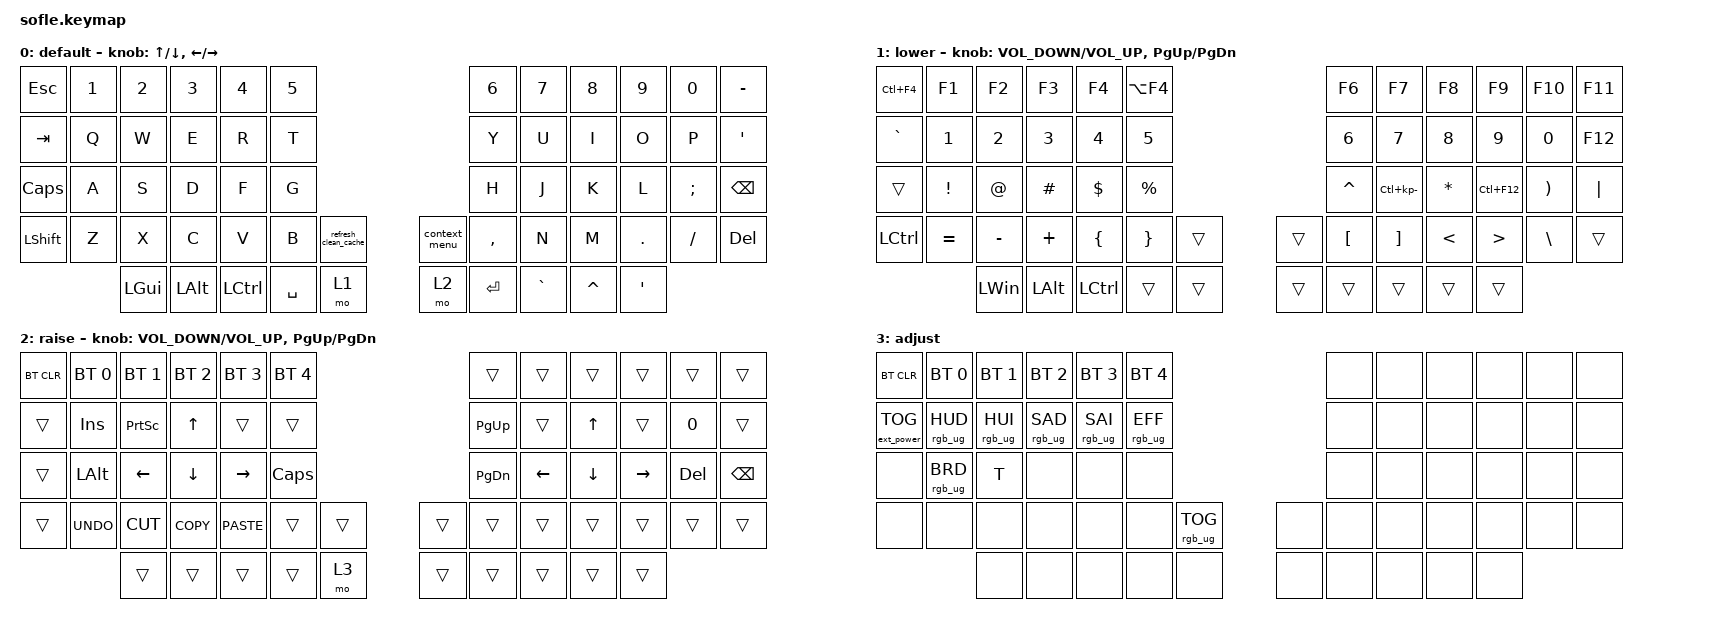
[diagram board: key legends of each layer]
/*
 * Copyright (c) 2020 The ZMK Contributors
 *
 * SPDX-License-Identifier: MIT
 */

#include <behaviors.dtsi>
#include <dt-bindings/zmk/bt.h>
#include <dt-bindings/zmk/ext_power.h>
#include <dt-bindings/zmk/keys.h>
#include <dt-bindings/zmk/rgb.h>

#define BASE 0
#define LOWER 1
#define RAISE 2
#define ADJUST 3

/ {
    // Activate ADJUST layer by pressing raise and lower

    conditional_layers {
        compatible = "zmk,conditional-layers";

        adjust_layer {
            if-layers = <LOWER RAISE>;
            then-layer = <ADJUST>;
        };
    };

    behaviors {
        knop_up_and_down: knop_up_and_down {
            compatible = "zmk,behavior-sensor-rotate";
            label = "KNOP_UP_AND_DOWN";
            #sensor-binding-cells = <0>;
            bindings = <&kp DOWN_ARROW>, <&kp UP_ARROW>;
        };
    };

    combos {
        compatible = "zmk,combos";

        dotnet_watch_debug {
            bindings = <&dotnet_watch_debug>;
            key-positions = <27 14>;
        };

        dotnet_build {
            bindings = <&dotnet_build>;
            key-positions = <27 41>;
        };

        dotnet_clean {
            bindings = <&dotnet_clean>;
            key-positions = <27 39>;
        };

        console_log {
            bindings = <&console_log>;
            key-positions = <39 33>;
        };

        context_menu {
            bindings = <&context_menu>;
            key-positions = <43>;
        };

        refresh {
            bindings = <&refresh_clean_cache>;
            key-positions = <42>;
        };

        git_add {
            bindings = <&git_add>;
            key-positions = <29 25>;
        };

        git_commit {
            bindings = <&git_commit>;
            key-positions = <29 46>;
        };

        git_clone {
            bindings = <&git_clone>;
            key-positions = <29 39 33>;
        };

        git_push {
            bindings = <&git_push>;
            key-positions = <29 22>;
        };

        npm_install {
            bindings = <&npm_install>;
            key-positions = <45 20>;
        };

        npm_run_dev {
            bindings = <&npm_run_dev>;
            key-positions = <45 16 27>;
        };

        npm_start {
            bindings = <&npm_start>;
            key-positions = <45 26>;
        };

        code_close_blocks {
            bindings = <&kp LC(LS(LEFT_BRACKET))>;
            key-positions = <52 20>;
        };

        code_expand_blocks {
            bindings = <&kp LC(LS(RIGHT_BRACKET))>;
            key-positions = <52 32>;
        };
    };

    macros {
        refresh_clean_cache: new_macro {
            compatible = "zmk,behavior-macro";
            #binding-cells = <0>;
            bindings = <&kp LCTRL &kp LEFT_SHIFT &kp F5>;
            label = "NEW_MACRO";
        };

        context_menu: context_menu {
            compatible = "zmk,behavior-macro";
            #binding-cells = <0>;
            bindings = <&kp LS(F10)>;
            label = "CONTEXT_MENU";
            tap-ms = <0>;
            wait-ms = <0>;
        };

        dotnet_watch_debug: dotnet_watch_debug {
            compatible = "zmk,behavior-macro";
            #binding-cells = <0>;
            bindings = <&kp D &kp O &kp T &kp N &kp E &kp T &kp SPACE &kp W &kp A &kp T &kp C &kp H &kp SPACE &kp D &kp E &kp B &kp U &kp G &kp ENTER>;
            label = "DOTNET_WATCH_DEBUG";
            wait-ms = <30>;
        };

        dotnet_build: dotnet_build {
            compatible = "zmk,behavior-macro";
            #binding-cells = <0>;
            bindings = <&kp D &kp O &kp T &kp N &kp E &kp T &kp SPACE &kp B &kp U &kp I &kp L &kp D &kp ENTER>;
            label = "DOTNET_BUILD";
        };

        dotnet_clean: dotnet_clean {
            compatible = "zmk,behavior-macro";
            #binding-cells = <0>;
            bindings = <&kp D &kp O &kp T &kp N &kp E &kp T &kp SPACE &kp C &kp L &kp E &kp A &kp N &kp RET>;
            label = "DOTNET_CLEAN";
        };

        console_log: console_log {
            compatible = "zmk,behavior-macro";
            #binding-cells = <0>;
            bindings = <&kp C &kp O &kp N &kp S &kp O &kp L &kp E &kp DOT &kp L &kp O &kp G &kp LPAR &kp RPAR &kp LEFT_ARROW>;
            label = "CONSOLE_LOG";
        };

        git_pull: git_pull {
            compatible = "zmk,behavior-macro";
            #binding-cells = <0>;
            bindings = <&kp G &kp I &kp T &kp SPACE &kp P &kp U &kp L &kp L &kp ENTER>;
            label = "GIT_PULL";
        };

        git_add: git_add {
            compatible = "zmk,behavior-macro";
            #binding-cells = <0>;
            bindings = <&kp G &kp I &kp T &kp SPACE &kp A &kp D &kp D &kp SPACE &kp DOT &kp RET>;
            label = "GIT_ADD";
        };

        git_commit: git_commit {
            compatible = "zmk,behavior-macro";
            #binding-cells = <0>;
            bindings = <&kp G &kp I &kp T &kp SPACE &kp C &kp O &kp M &kp M &kp I &kp T &kp SPACE &kp MINUS &kp M &kp SPACE &kp DQT &kp DQT &kp LEFT>;
            label = "GIT_COMMIT";
        };

        git_push: git_push {
            compatible = "zmk,behavior-macro";
            #binding-cells = <0>;
            bindings = <&kp G &kp I &kp T &kp SPACE &kp P &kp U &kp S &kp H &kp SPACE &kp RET>;
            label = "GIT_PUSH";
        };

        git_clone: git_clone {
            compatible = "zmk,behavior-macro";
            #binding-cells = <0>;
            bindings = <&kp G &kp I &kp T &kp SPACE &kp C &kp L &kp O &kp N &kp E &kp SPACE &kp LC(V)>;
            label = "GIT_CLONE";
        };

        npm_install: npm_install {
            compatible = "zmk,behavior-macro";
            #binding-cells = <0>;
            bindings = <&kp N &kp P &kp M &kp SPACE &kp I &kp N &kp S &kp T &kp A &kp L &kp L &kp RET>;
            label = "NPM_INSTALL";
        };

        npm_run_dev: npm_run_dev {
            compatible = "zmk,behavior-macro";
            #binding-cells = <0>;
            bindings = <&kp N &kp P &kp M &kp SPACE &kp R &kp U &kp N &kp SPACE &kp D &kp E &kp V &kp RET>;
            label = "NPM_RUN_DEV";
        };

        npm_start: npm_start {
            compatible = "zmk,behavior-macro";
            #binding-cells = <0>;
            bindings = <&kp N &kp P &kp M &kp SPACE &kp S &kp T &kp A &kp R &kp T &kp RET>;
            label = "NPM_START";
        };

        close_visual_studio_file: close_visual_studio_file {
            compatible = "zmk,behavior-macro";
            #binding-cells = <0>;
            bindings = <&none>;
            label = "CLOSE_VISUAL_STUDIO_FILE";
        };
    };

    keymap {
        compatible = "zmk,keymap";

        default_layer {
            display-name = "default";

            // ------------------------------------------------------------------------------------------------------------
            // |   `   |  1  |  2  |  3   |  4   |  5   |                   |  6   |  7    |  8    |  9   |   0   |       |
            // |  ESC  |  Q  |  W  |  E   |  R   |  T   |                   |  Y   |  U    |  I    |  O   |   P   | BKSPC |
            // |  TAB  |  A  |  S  |  D   |  F   |  G   |                   |  H   |  J    |  K    |  L   |   ;   |   '   |
            // | SHIFT |  Z  |  X  |  C   |  V   |  B   |  MUTE  |  |       |  N   |  M    |  ,    |  .   |   /   | SHIFT |
            //               | GUI | ALT  | CTRL | LOWER|  ENTER |  | SPACE | RAISE| CTRL  | ALT   | GUI  |

            bindings = <
&kp ESC       &kp N1  &kp N2    &kp N3        &kp N4            &kp N5                                            &kp N6     &kp N7     &kp N8     &kp N9            &kp N0    &kp MINUS
&kp TAB       &kp Q   &kp W     &kp E         &kp R             &kp T                                             &kp Y      &kp U      &kp I      &kp O             &kp P     &kp APOSTROPHE
&kp CAPSLOCK  &kp A   &kp S     &kp D         &kp F             &kp G                                             &kp H      &kp J      &kp K      &kp L             &kp SEMI  &kp BACKSPACE
&kp LSHFT     &kp Z   &kp X     &kp C         &kp V             &kp B      &refresh_clean_cache    &context_menu  &kp COMMA  &kp N      &kp M      &kp DOT           &kp FSLH  &kp DEL
                      &kp LGUI  &kp LEFT_ALT  &kp LEFT_CONTROL  &kp SPACE  &mo 1                   &mo 2          &kp ENTER  &kp GRAVE  &kp CARET  &kp SINGLE_QUOTE
            >;

            sensor-bindings =
                <&inc_dec_kp UP_ARROW DOWN_ARROW>,
                <&inc_dec_kp LEFT RIGHT>;
        };

        lower_layer {
            display-name = "lower";

            // TODO: Some binds are waiting for shifted keycode support.
            // ------------------------------------------------------------------------------------------------------------
            // |       |  F1 |  F2 |  F3  |  F4  |  F5  |                   |  F6  |  F7   |  F8   |  F9  |  F10  |  F11  |
            // |   `   |  1  |  2  |  3   |  4   |  5   |                   |  6   |  7    |  8    |  9   |   0   |  F12  |
            // |       |  !  |  @  |  #   |  $   |  %   |                   |  ^   |  &    |  *    |  (   |   )   |   |   |
            // |       |  =  |  -  |  +   |  {   |  }   |        |  |       |  [   |  ]    |  ;    |  :   |   \   |       |
            //               |     |      |      |      |        |  |       |      |       |       |      |

            bindings = <
&kp LC(F4)  &kp F1     &kp F2        &kp F3        &kp F4     &kp LA(F4)                    &kp F6     &kp F7            &kp F8         &kp F9            &kp F10   &kp F11
&kp GRAVE   &kp N1     &kp N2        &kp N3        &kp N4     &kp N5                        &kp N6     &kp N7            &kp N8         &kp N9            &kp N0    &kp F12
&trans      &kp EXCL   &kp AT        &kp HASH      &kp DLLR   &kp PRCNT                     &kp CARET  &kp LC(KP_MINUS)  &kp ASTRK      &kp LC(F12)       &kp RPAR  &kp PIPE
&kp LCTRL   &kp EQUAL  &kp MINUS     &kp PLUS      &kp LBRC   &kp RBRC    &trans    &trans  &kp LBKT   &kp RBKT          &kp LESS_THAN  &kp GREATER_THAN  &kp BSLH  &trans
                       &kp LEFT_WIN  &kp LEFT_ALT  &kp LCTRL  &trans      &trans    &trans  &trans     &trans            &trans         &trans
            >;

            sensor-bindings =
                <&inc_dec_kp C_VOLUME_DOWN C_VOLUME_UP>,
                <&inc_dec_kp PG_UP PG_DN>;
        };

        raise_layer {
            display-name = "raise";

            // ------------------------------------------------------------------------------------------------------------
            // | BTCLR | BT1  | BT2  |  BT3  |  BT4  |  BT5 |                |      |      |       |      |       |       |
            // |       | INS  | PSCR | GUI   |       |      |                | PGUP |      |   ^   |      |       |       |
            // |       | ALT  | CTRL | SHIFT |       | CAPS |                | PGDN |   <- |   v   |  ->  |  DEL  | BKSPC |
            // |       | UNDO | CUT  | COPY  | PASTE |      |      |  |      |      |      |       |      |       |       |
            //                |      |       |       |      |      |  |      |      |      |       |      |

            bindings = <
&bt BT_CLR  &bt BT_SEL 0  &bt BT_SEL 1    &bt BT_SEL 2    &bt BT_SEL 3  &bt BT_SEL 4                    &trans     &trans    &trans    &trans     &trans   &trans
&trans      &kp INS       &kp PSCRN       &kp UP_ARROW    &trans        &trans                          &kp PG_UP  &trans    &kp UP    &trans     &kp N0   &trans
&trans      &kp LALT      &kp LEFT_ARROW  &kp DOWN_ARROW  &kp RIGHT     &kp CLCK                        &kp PG_DN  &kp LEFT  &kp DOWN  &kp RIGHT  &kp DEL  &kp BSPC
&trans      &kp K_UNDO    &kp K_CUT       &kp K_COPY      &kp K_PASTE   &trans        &trans    &trans  &trans     &trans    &trans    &trans     &trans   &trans
                          &trans          &trans          &trans        &trans        &mo 3     &trans  &trans     &trans    &trans    &trans
            >;

            sensor-bindings =
                <&inc_dec_kp C_VOLUME_DOWN C_VOLUME_UP>,
                <&inc_dec_kp PG_UP PG_DN>;
        };

        adjust_layer {
            // ----------------------------------------------------------------------------------------------------------------------------
            // | BTCLR  |  BT1    |  BT2    |   BT3   |   BT4   |   BT5   |                  |      |      |       |      |       |       |
            // | EXTPWR | RGB_HUD | RGB_HUI | RGB_SAD | RGB_SAI | RGB_EFF |                  |      |      |       |      |       |       |
            // |        | RGB_BRD | RGB_BRI |         |         |         |                  |      |      |       |      |       |       |
            // |        |         |         |         |         |         | RGB_TOG | |      |      |      |       |      |       |       |
            //                    |         |         |         |         |         | |      |      |      |       |      |

            display-name = "adjust";
            bindings = <
&bt BT_CLR         &bt BT_SEL 0     &bt BT_SEL 1     &bt BT_SEL 2     &bt BT_SEL 3     &bt BT_SEL 4                               &none  &none  &none  &none  &none  &none
&ext_power EP_TOG  &rgb_ug RGB_HUD  &rgb_ug RGB_HUI  &rgb_ug RGB_SAD  &rgb_ug RGB_SAI  &rgb_ug RGB_EFF                            &none  &none  &none  &none  &none  &none
&none              &rgb_ug RGB_BRD  &kp T            &none            &none            &none                                      &none  &none  &none  &none  &none  &none
&none              &none            &none            &none            &none            &none            &rgb_ug RGB_TOG    &none  &none  &none  &none  &none  &none  &none
                                    &none            &none            &none            &none            &none              &none  &none  &none  &none  &none
            >;
        };
    };
};
